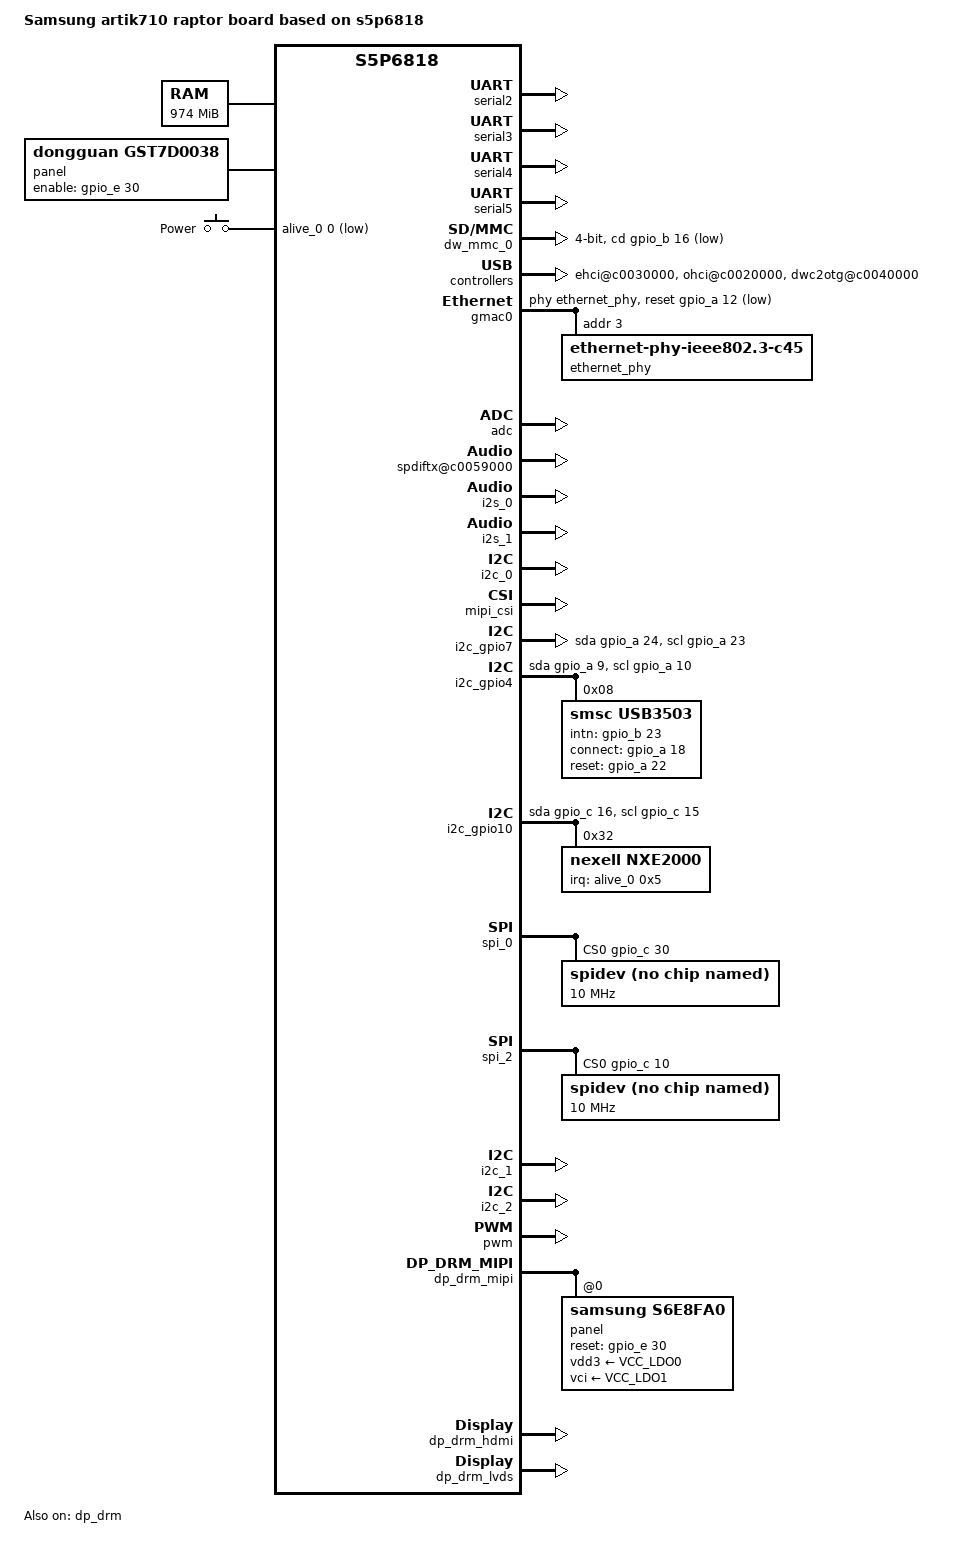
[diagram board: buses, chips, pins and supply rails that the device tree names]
/*
 * Copyright (C) 2016  Nexell Co., Ltd.
 * Author: Youngbok, Park <ybpark@nexell.co.kr>
 *
 * This program is free software; you can redistribute it and/or
 * modify it under the terms of the GNU General Public License
 * as published by the Free Software Foundation; either version 2
 * of the License, or (at your option) any later version.
 *
 * This program is distributed in the hope that it will be useful,
 * but WITHOUT ANY WARRANTY; without even the implied warranty of
 * MERCHANTABILITY or FITNESS FOR A PARTICULAR PURPOSE.  See the
 * GNU General Public License for more details.
 *
 * You should have received a copy of the GNU General Public License
 * along with this program.  If not, see <http://www.gnu.org/licenses/>.
 */

/dts-v1/;
#include <dt-bindings/interrupt-controller/irq.h>
#include <dt-bindings/input/input.h>
#include "s5p6818-artik710.dtsi"

#define PMIC_PDATA_INIT(_id, _rname, _minuv,	\
			_maxuv, _init_uv, _init_enable,		\
			_set_init_uV, _slp_slots)	\
		regulator-name = _rname;		\
		regulator-min-microvolt = <_minuv>;	\
		regulator-max-microvolt = <_maxuv>;	\
		nx,id = <_id>;				\
		nx,init_enable = <_init_enable>;	\
		nx,init_uV = <_init_uv>;		\
		nx,set_init_uV = <_set_init_uV>;	\
		nx,sleep_slots = <_slp_slots>;

/ {
	model = "Samsung artik710 raptor board based on s5p6818";
	compatible = "samsung,artik710-raptor", "samsung,artik710",
		   "nexell,s5p6818";

	aliases {
		i2c4 = &i2c_gpio4;
		i2c7 = &i2c_gpio7;
		i2c10 = &i2c_gpio10;
		snd_null_card0 = &snd_null_card_0;
		snd_null_card1 = &snd_null_card_1;
	};

	memory {
		device_type = "memory";
		reg = <0x40000000 0x3ce00000>;
	};

	nx-v4l2 {
		status = "okay";
	};

	soc {

		clocks {
			vip0:vip@c00c1000 { clock-frequency = <300000000>;};
			sdhc2:sdhc@c00cd000 {
				      clk-input = <(I_PLL2 | I_GATE_PCLK)>;
			};
			pwm0:pwm0@c00ba000 {
			      clk-input = <I_PLL2>;
			};
			pwm2:pwm2@c00be000 { clock-frequency = <100000000>; };
		};

		serial2:serial@c00a2000 {
			status ="okay";
		};

		serial3:serial@c00a3000 {
			status ="okay";
		};

		serial4:serial@c006d000 {
			status ="okay";
		};

		serial5:serial@c006f000 {
			status ="okay";
		};

		dw_mmc_0:dw_mmc@c0062000 {
			num-slots = <1>;
			bus-width = <4>;
			cap-sd-highspeed;
			clock-frequency = <100000000>;
			card-detect-delay = <200>;
			disable-wp;
			cd-gpios = <&gpio_b 16 0>;
			cd-inverted;
			nexell,drive_dly = <0x0>;
			nexell,drive_shift = <0x02>;
			nexell,sample_dly = <0x00>;
			nexell,sample_shift = <0x01>;
			status = "okay";
		};

		nexell_usbphy: nexell-usbphy@c0012000 {
			status = "okay";
		};

		ehci@c0030000 {
			status = "okay";
			port@0 {
				status = "okay";
			};
			port@1 {
				status = "okay";
			};
		};

		ohci@c0020000 {
			status = "okay";
			port@0 {
				status = "okay";
			};
		};

		dwc2otg@c0040000 {
			status = "okay";
		};

		gmac0:ethernet@c0060000 {
			pinctrl-names = "default";
			pinctrl-0 = <&gmac_pins>;

			status = "okay";
			#address-cells = <0x1>;
			#size-cells = <0x0>;

			snps,phy-addr = <3>;
			snps,reset-gpio = <&gpio_a 12 0>;
			snps,reset-active-low;
			snps,reset-delays-us = <0 10000 30000>;

			phy-handle = <&ethernet_phy>;

			ethernet_phy:ethernet-phy@3 {
				compatible = "ethernet-phy-ieee802.3-c45";
				reg = <3>;
				device_type = "ethernet-phy";
			};
		};

		adc:adc@c0053000 {
			status = "okay";
		};

		watchdog@c0019000 {
			status = "okay";
		};

		pinctrl@C0010000 {
			key_pwr:key_pwr {
				nexell,pins = "alive-1";
				nexell,pin-function = <0>;
				nexell,pin-pull = <1>;
				nexell,pin-strength = <0>;
			};
		};

		spdiftx@c0059000 {
			pcm-bit = <16>;
			sample_rate = <48000>;
			status = "okay";
		};

		video-codec@c0080000 {
			status = "okay";
			sram = <0 0>;
		};

		i2s_0:i2s@c0055000 {
			master-mode = <1>;
			mclk-in = <0>;
			trans-mode = <1>;
			frame-bit = <48>;
			sample-rate = <48000>;
			pre-supply-mclk = <1>;
			status = "okay";
		};

		i2s_1:i2s@c0056000 {
			master-mode = <0>;
			mclk-in = <1>;
			trans-mode = <1>;
			frame-bit = <48>;
			sample-rate = <48000>;
			pre-supply-mclk = <0>;
			status = "okay";
		};

		vip_0:vip@c0063000 {
			status = "okay";
		};

		i2c_0:i2c@c00a4000 {
			samsung,i2c-max-bus-freq = <100000>;
			status = "okay";
		};

		mipi_csi:mipi_csi@c00d0000 {
			data_lane = <2>;
			pllval = <750>;
			hssettle = <7>;
			status = "okay";
		};

		clipper_0:clipper0@c0063000 {
			interface_type = <NX_CAPTURE_INTERFACE_MIPI_CSI>;
			gpios = <&gpio_a 17 0 &gpio_a 3 0 &gpio_a 6 0>;
			data_order = <NX_VIN_Y0CBY1CR>;
			status = "okay";
			sensor {
				type = <NX_CAPTURE_SENSOR_I2C>;
				i2c_name = "S5K4ECGA";
				i2c_adapter = <0>;
				addr = <0x56>;
			};
			power {
				enable_seq = <
					NX_ACTION_START
					NX_ACTION_TYPE_GPIO 2 1 2
					NX_ACTION_END
					NX_ACTION_START
					NX_ACTION_TYPE_GPIO 1 1 1
					NX_ACTION_END
					NX_ACTION_START
					NX_ACTION_TYPE_GPIO 0 1 1
					NX_ACTION_END
				>;

				disable_seq = <
					NX_ACTION_START
					NX_ACTION_TYPE_GPIO 0 0 1
					NX_ACTION_END
					NX_ACTION_START
					NX_ACTION_TYPE_GPIO 1 0 1
					NX_ACTION_END
					NX_ACTION_START
					NX_ACTION_TYPE_GPIO 2 0 2
					NX_ACTION_END
				>;
			};
		};

		scaler@c0066000 {
			status = "okay";
		};
	};	/*** soc ***/

	panel: panel-simple {
		compatible = "dongguan,gst7d0038";
		enable-gpios = <&gpio_e 30 0>;
		status = "okay";

		port {
			lvds_panel: endpoint {
			};
		};
	};

	i2c_gpio7:i2c@7 {
		compatible = "i2c-gpio";
		gpios = <&gpio_a 24 0 /* sda */
			&gpio_a 23 0 /* scl */
			>;
		i2c-gpio,delay-us = <100>;
		#address-cells = <1>;
		#size-cells = <0>;
	};

	i2c_gpio4: i2c@4 {
		compatible = "i2c-gpio";
		gpios = <&gpio_a 9 0 /* sda */
			&gpio_a 10 0 /* scl */
			>;
		i2c-gpio,delay-us = <1>;    /* ~100 kHz */
		#address-cells = <1>;
		#size-cells = <0>;

		usb3503: usb3503@08 {
			compatible = "smsc,usb3503";
			reg = <0x08>;
			intn-gpios = <&gpio_b 23 0>;
			connect-gpios = <&gpio_a 18 0>;
			reset-gpios = <&gpio_a 22 0>;
			initial-mode = <1>;
		};
	};

	gpio_key: gpio_keys {
		compatible = "gpio-keys";
		#address-cells = <1>;
		#size-cells = <0>;
		pinctrl-names = "default";
		pinctrl-0 = <&key_pwr>;

		power {
			label = "Power";
			gpios = <&alive_0 0 1>;
			linux,code = <KEY_POWER>;
			gpio-key,wakeup;
		};
	};

	i2c_gpio10: i2c@10 {
		compatible = "i2c-gpio";
		gpios = <&gpio_c 16 0	/* sda */
			&gpio_c 15 0	/* scl */
			>;

		i2c-gpio,delay-us = <1>;	/* ~100kHz */
		#address-cells = <1>;
		#size-cells = <0>;
		status = "okay";

		nxe2000@32 {
			compatible = "nexell,nxe2000";
			reg = <0x32>;
			interrupt-parent = <&alive_0>;
			interrupts = <0x5 IRQ_TYPE_EDGE_FALLING>;
		};
	};

	regulators {
		VCC_DCDC0:
			dcdc1	{ PMIC_PDATA_INIT( 0,
				"nxe2000_dcdc1",
				900000, 1500000,
				1100000, 1, 0, 0x4)
				regulator-always-on;
				regulator-boot-on;};
		VCC_DCDC1:
			dcdc2	{ PMIC_PDATA_INIT( 1,
				"nxe2000_dcdc2",
				1000000, 1500000,
				1200000, 1, 0, 0x4)
				regulator-always-on;
				regulator-boot-on;};
		VCC_DCDC2:
			dcdc3	{ PMIC_PDATA_INIT( 2,
				"nxe2000_dcdc3",
				1000000, 3500000,
				3300000, 1, 1, 0x0)
				regulator-always-on;
				regulator-boot-on;};
		VCC_DCDC3:
			dcdc4	{ PMIC_PDATA_INIT( 3,
				"nxe2000_dcdc4",
				1000000, 2000000,
				1500000, 1, 0, 0xF)
				regulator-always-on;
				regulator-boot-on;};
		VCC_DCDC4:
			dcdc5	{ PMIC_PDATA_INIT( 4,
				"nxe2000_dcdc5",
				1000000, 2000000,
				1500000, 1, 0, 0x4)
				regulator-always-on;
				regulator-boot-on;};
		VCC_LDO0:
			ldo1	{ PMIC_PDATA_INIT( 5,
				"nxe2000_ldo1",
				1000000, 3500000,
				3300000, 0, 1, 0x0)
				regulator-boot-on;};
		VCC_LDO1:
			ldo2	{ PMIC_PDATA_INIT( 6,
				"nxe2000_ldo2",
				1000000, 3500000,
				3300000, 0, 1, 0x0)
				regulator-boot-on;};
		VCC_LDO2:
			ldo3	{ PMIC_PDATA_INIT( 7,
				"nxe2000_ldo3",
				1000000, 3500000,
				1800000, 1, 1, 0x2)
				regulator-always-on;
				regulator-boot-on;};
		VCC_LDO3:
			ldo4	{ PMIC_PDATA_INIT( 8,
				"nxe2000_ldo4",
				1000000, 3500000,
				1800000, 1, 1, 0x2)
				regulator-always-on;
				regulator-boot-on;};
		VCC_LDO4:
			ldo5	{ PMIC_PDATA_INIT( 9,
				"nxe2000_ldo5",
				1000000, 3500000,
				3300000, 0, 1, 0x0)
				regulator-boot-on;};
		VCC_LDO5:
			ldo6	{ PMIC_PDATA_INIT(10,
				"nxe2000_ldo6",
				1000000, 3500000,
				3300000, 1, 1, 0xF)
				regulator-always-on;
				regulator-boot-on;};
		VCC_LDO6:
			ldo7	{ PMIC_PDATA_INIT(11,
				"nxe2000_ldo7",
				1000000, 3500000,
				3300000, 1, 1, 0x1)
				regulator-always-on;
				regulator-boot-on;};
		VCC_LDO7:
			ldo8	{ PMIC_PDATA_INIT(12,
				"nxe2000_ldo8",
				1000000, 3500000,
				3300000, 0, 1, 0x0)
				regulator-boot-on;};
		VCC_LDO8:
			ldo9	{ PMIC_PDATA_INIT(13,
				"nxe2000_ldo9",
				1000000, 3500000,
				1800000, 0, 1, 0x0)
				regulator-boot-on;};
		VCC_LDO9:
			ldo10	{ PMIC_PDATA_INIT(14,
				"nxe2000_ldo10",
				1000000, 3500000,
				1200000, 1, 1, 0x0)
				regulator-always-on;
				regulator-boot-on;};
		VCC_RTC0:
			ldortc1	{ PMIC_PDATA_INIT(15,
				"nxe2000_rtc1",
				1700000, 3500000,
				1800000, 1, 1, 0xF)
				regulator-always-on;
				regulator-boot-on;};
		VCC_RTC1:
			ldortc2	{ PMIC_PDATA_INIT(16,
				"nxe2000_rtc2",
				1000000, 3500000,
				1000000, 1, 1, 0xF)
				regulator-always-on;
				regulator-boot-on;};
	}; /* regulators */

	snd-null {
		compatible = "nexell,snd-null";
		#address-cells = <1>;
		#size-cells = <0>;
		reg = <0 0>;
	};

	snd_null_card_0:snd_null_card@0 {
		compatible = "nexell,snd-null-card";
		ch = <0>;
		sample_rate = <48000>;
		format = "S16";
		i2s-controller = <&i2s_0>;
	};

	snd_null_card_1:snd_null_card@1 {
		compatible = "nexell,snd-null-card";
		ch = <1>;
		sample_rate = <48000>;
		format = "S16";
		i2s-controller = <&i2s_1>;
	};
};

&spi_0 {
	status = "okay";
	cs-gpios = <&gpio_c 30 0>;
	spidev@0 {
		compatible = "linux,spidev";
		reg = <0>;
		spi-max-frequency = <10000000>;
		controller-data {
			samsung,spi-feedback-delay = <0>;
		};
	};
};

&spi_2 {
	status = "okay";
	cs-gpios = <&gpio_c 10 0>;
	hierarchy = <1>; //0 : master, 1 : slave
	spidev@0 {
		compatible = "linux,spidev";
		reg = <0>;
		spi-max-frequency = <10000000>;
		controller-data {
			samsung,spi-feedback-delay = <0>;
		};
	};
};

&i2c_1 {
	status = "okay";
};

&i2c_2 {
	#address-cells = <1>;
	#size-cells = <0>;
	status = "okay";
};

&pwm {
	status = "okay";
	pinctrl-0 = <&pwm0_pin &pwm1_pin &pwm2_pin>;
	samsung,pwm-outputs = <0>, <1>, <2>;
};

&dp_drm {
	status = "okay";
	ports {
		port@0 {
			reg = <0>;
			back_color = < 0x0 >;
			color_key = < 0x0 >;
			plane-names = "video", "primary", "rgb";
		};
		port@1 {
			reg = <1>;
			back_color = < 0x0 >;
			color_key = < 0x0 >;
			plane-names = "video", "primary";
		};
	};
};

&dp_drm_mipi {
	hs_bitrate = <960>;
	lp_bitrate = <100>;
	status = "ok";

	panel@0 {
		compatible = "samsung,s6e8fa0";
		reg = <0>;
		vdd3-supply = <&VCC_LDO0>;
		vci-supply = <&VCC_LDO1>;
		reset-gpio = <&gpio_e 30 0>;
		power-on-delay= <50>;
		reset-delay = <100>;
		init-delay = <100>;
		display-timings {
			timing-0 {
				clock-frequency = <130361520>;
				hactive = <1080>;
				vactive = <1920>;
				hfront-porch = <32>;
				hback-porch = <16>;
				hsync-len = <12>;
				vfront-porch = <12>;
				vback-porch = <3>;
				vsync-len = <1>;
			};
		};
	};

	dp_control {
		clk_src_lv0 = <3>;
		clk_div_lv0 = <6>;
		clk_src_lv1 = <7>;
		clk_div_lv1 = <1>;
		out_format = <3>;
		vs_start_offset = <480>;
		ev_start_offset = <480>;
		vs_end_offset = <0>;
		ev_end_offset = <0>;
	};
};

&dp_drm_hdmi {
	ddc-i2c-bus = <&i2c_gpio7>;
	enable-gpios = <&gpio_a 21 0>;
	status = "ok";
};

&dp_drm_lvds {
	status = "ok";

	remote-endpoint = <&lvds_panel>;

	dp_control {
		clk_src_lv0 = <3>;
		clk_div_lv0 = <16>;
		clk_src_lv1 = <7>;
		clk_div_lv1 = <1>;
		out_format = <3>;
	};
};
